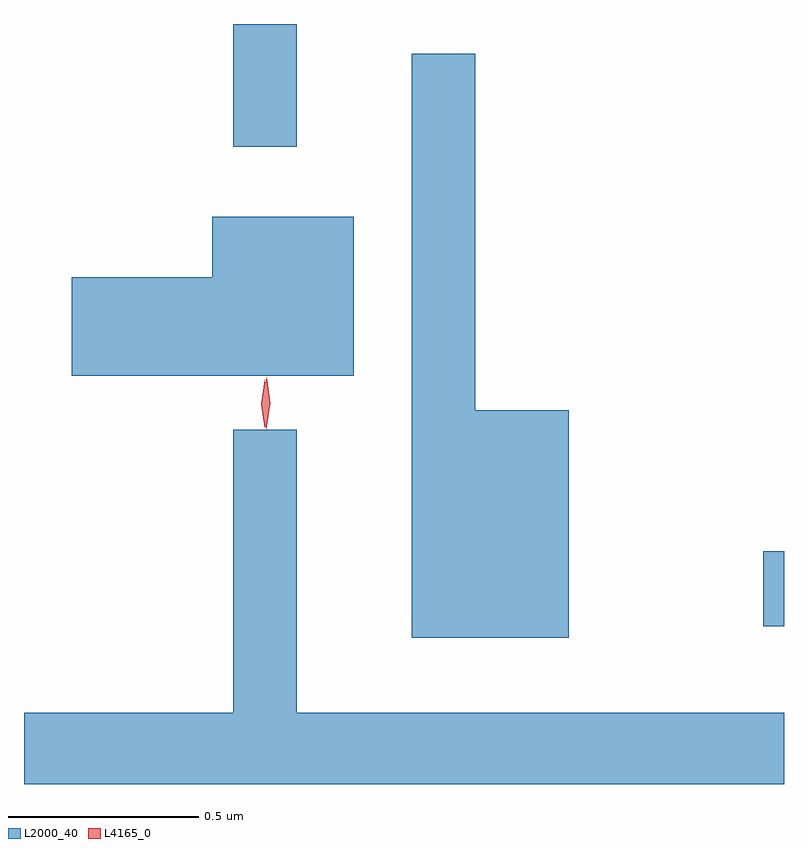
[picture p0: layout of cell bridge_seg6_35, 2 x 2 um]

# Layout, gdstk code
import gdstk
lib = gdstk.Library(unit=1e-6, precision=1e-09)
def R(c, l, rs):  # rectangles x0, y0, x1, y1
    for r in rs: c.add(gdstk.rectangle(r[:2], r[2:], *l))
def P(c, l, *ps):  # polygons
    for p in ps: c.add(gdstk.Polygon(p, *l))
L2000_40 = (2000, 40)
L4165_0 = (4165, 0)

bridge_seg6_35 = lib.new_cell('bridge_seg6_35')
R(bridge_seg6_35, L2000_40, [(1776.296,1665.971,1776.351,1666.169), (1774.901,1667.233,1775.069,1667.556)])
P(bridge_seg6_35, L2000_40, [(1775.784,1666.539),(1775.539,1666.539),(1775.539,1667.478),(1775.371,1667.478),(1775.371,1665.941),(1775.784,1665.941)],
  [(1775.219,1667.049),(1774.846,1667.049),(1774.846,1666.889),(1774.476,1666.889),(1774.476,1666.631),(1775.219,1666.631)],
  [(1776.351,1665.744),(1775.069,1665.744),(1775.069,1666.488),(1774.901,1666.488),(1774.901,1665.744),(1774.351,1665.744),(1774.351,1665.556),(1776.351,1665.556)])
P(bridge_seg6_35, L4165_0, [(1774.988,1666.49),(1774.988,1666.49),(1774.979,1666.558),(1774.99,1666.626),(1774.99,1666.626),(1774.99,1666.626),(1774.999,1666.558),(1774.989,1666.49)],
  [(1774.984,1666.493),(1774.975,1666.556),(1774.984,1666.619),(1774.985,1666.62),(1774.985,1666.619),(1774.995,1666.556),(1774.985,1666.493),(1774.985,1666.493)])

lib.write_gds('bridge_seg6_35.gds')
